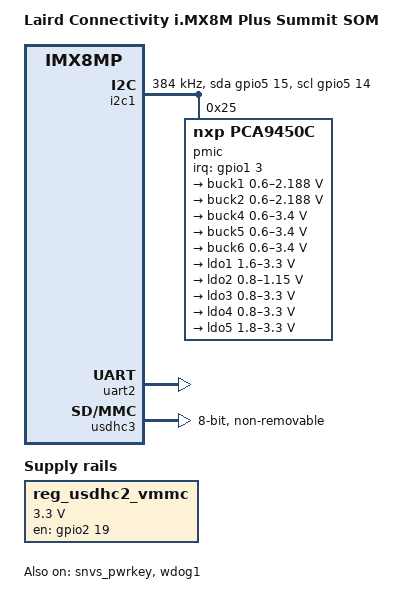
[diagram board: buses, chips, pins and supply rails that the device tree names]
// SPDX-License-Identifier: (GPL-2.0-or-later OR MIT)
/*
 * Copyright 2021 Laird Connectivity
 */

#include <dt-bindings/usb/pd.h>
#include "imx8mp.dtsi"

/ {
	model = "Laird Connectivity  i.MX8M Plus Summit SOM";
	compatible = "lrd,imx8mp-summitsom", "fsl,imx8mp";

	chosen {
		bootargs = "console=ttymxc1,115200";
		stdout-path = &uart2;
	};

	reg_usdhc2_vmmc: regulator-usdhc2 {
		compatible = "regulator-fixed";
		pinctrl-names = "default";
		pinctrl-0 = <&pinctrl_reg_usdhc2_vmmc>;
		regulator-name = "VSD_3V3";
		regulator-min-microvolt = <3300000>;
		regulator-max-microvolt = <3300000>;
		gpio = <&gpio2 19 GPIO_ACTIVE_HIGH>;
		enable-active-high;
		startup-delay-us = <100>;
		off-on-delay-us = <12000>;
	};
};

&i2c1 {
	clock-frequency = <384000>;
	pinctrl-names = "default", "gpio";
	pinctrl-0 = <&pinctrl_i2c1>;
	pinctrl-1 = <&pinctrl_i2c1_gpio>;
	scl-gpios = <&gpio5 14 GPIO_ACTIVE_HIGH>;
	sda-gpios = <&gpio5 15 GPIO_ACTIVE_HIGH>;
	status = "okay";

	pmic: pca9450@25 {
		compatible = "nxp,pca9450c";
		reg = <0x25>;
		pinctrl-names = "default";
		pinctrl-0 = <&pinctrl_pmic>;
		interrupt-parent = <&gpio1>;
		interrupts = <3 IRQ_TYPE_LEVEL_LOW>;

		pmic_reg: regulators {
			buck1: BUCK1 {
				regulator-name = "BUCK1";
				regulator-min-microvolt = <600000>;
				regulator-max-microvolt = <2187500>;
				regulator-boot-on;
				regulator-always-on;
				regulator-ramp-delay = <3125>;
			};

			buck2: BUCK2 {
				regulator-name = "BUCK2";
				regulator-min-microvolt = <600000>;
				regulator-max-microvolt = <2187500>;
				regulator-boot-on;
				regulator-always-on;
				regulator-ramp-delay = <3125>;
				nxp,dvs-run-voltage = <950000>;
				nxp,dvs-standby-voltage = <850000>;
			};

			buck4: BUCK4{
				regulator-name = "BUCK4";
				regulator-min-microvolt = <600000>;
				regulator-max-microvolt = <3400000>;
				regulator-boot-on;
				regulator-always-on;
			};

			buck5: BUCK5{
				regulator-name = "BUCK5";
				regulator-min-microvolt = <600000>;
				regulator-max-microvolt = <3400000>;
				regulator-boot-on;
				regulator-always-on;
			};

			buck6: BUCK6 {
				regulator-name = "BUCK6";
				regulator-min-microvolt = <600000>;
				regulator-max-microvolt = <3400000>;
				regulator-boot-on;
				regulator-always-on;
			};

			ldo1: LDO1 {
				regulator-name = "LDO1";
				regulator-min-microvolt = <1600000>;
				regulator-max-microvolt = <3300000>;
				regulator-boot-on;
				regulator-always-on;
			};

			ldo2: LDO2 {
				regulator-name = "LDO2";
				regulator-min-microvolt = <800000>;
				regulator-max-microvolt = <1150000>;
				regulator-boot-on;
				regulator-always-on;
			};

			ldo3: LDO3 {
				regulator-name = "LDO3";
				regulator-min-microvolt = <800000>;
				regulator-max-microvolt = <3300000>;
				regulator-boot-on;
				regulator-always-on;
			};

			ldo4: LDO4 {
				regulator-name = "LDO4";
				regulator-min-microvolt = <800000>;
				regulator-max-microvolt = <3300000>;
				regulator-boot-on;
				regulator-always-on;
			};

			ldo5: LDO5 {
				regulator-name = "LDO5";
				regulator-min-microvolt = <1800000>;
				regulator-max-microvolt = <3300000>;
				regulator-boot-on;
				regulator-always-on;
			};
		};
	};
};

&snvs_pwrkey {
	status = "okay";
};

&uart2 {
	/* console */
	pinctrl-names = "default";
	pinctrl-0 = <&pinctrl_uart2>;
	status = "okay";
};

&usdhc3 {
	pinctrl-names = "default", "state_100mhz", "state_200mhz";
	pinctrl-0 = <&pinctrl_usdhc3>;
	pinctrl-1 = <&pinctrl_usdhc3_100mhz>;
	pinctrl-2 = <&pinctrl_usdhc3_200mhz>;
	bus-width = <8>;
	non-removable;
	status = "okay";
};

&wdog1 {
	pinctrl-names = "default";
	pinctrl-0 = <&pinctrl_wdog>;
	fsl,ext-reset-output;
	status = "okay";
};

&iomuxc {
	pinctrl-names = "default";

	pinctrl_i2c1: i2c1grp {
		fsl,pins = <
			MX8MP_IOMUXC_I2C1_SCL__I2C1_SCL		0x400001c2
			MX8MP_IOMUXC_I2C1_SDA__I2C1_SDA		0x400001c2
		>;
	};

	pinctrl_i2c1_gpio: i2c1grp-gpio {
		fsl,pins = <
			MX8MP_IOMUXC_I2C1_SCL__GPIO5_IO14        	0x1c2
			MX8MP_IOMUXC_I2C1_SDA__GPIO5_IO15        	0x1c2
		>;
	};

	pinctrl_pmic: pmicirq {
		fsl,pins = <
			MX8MP_IOMUXC_GPIO1_IO03__GPIO1_IO03	0x40
		>;
	};

	pinctrl_reg_usdhc2_vmmc: regusdhc2vmmc {
		fsl,pins = <
			MX8MP_IOMUXC_SD2_RESET_B__GPIO2_IO19	0x40
		>;
	};

	pinctrl_uart2: uart2grp {
		fsl,pins = <
			MX8MP_IOMUXC_UART2_RXD__UART2_DCE_RX	0x1c0
			MX8MP_IOMUXC_UART2_TXD__UART2_DCE_TX	0x0c0
		>;
	};

	pinctrl_usdhc3: usdhc3grp {
		fsl,pins = <
			MX8MP_IOMUXC_NAND_WE_B__USDHC3_CLK	0x190
			MX8MP_IOMUXC_NAND_WP_B__USDHC3_CMD	0x1d0
			MX8MP_IOMUXC_NAND_DATA04__USDHC3_DATA0	0x1d0
			MX8MP_IOMUXC_NAND_DATA05__USDHC3_DATA1	0x1d0
			MX8MP_IOMUXC_NAND_DATA06__USDHC3_DATA2	0x1d0
			MX8MP_IOMUXC_NAND_DATA07__USDHC3_DATA3	0x1d0
			MX8MP_IOMUXC_NAND_RE_B__USDHC3_DATA4	0x1d0
			MX8MP_IOMUXC_NAND_CE2_B__USDHC3_DATA5	0x1d0
			MX8MP_IOMUXC_NAND_CE3_B__USDHC3_DATA6	0x1d0
			MX8MP_IOMUXC_NAND_CLE__USDHC3_DATA7	0x1d0
			MX8MP_IOMUXC_NAND_CE1_B__USDHC3_STROBE	0x190
		>;
	};

	pinctrl_usdhc3_100mhz: usdhc3-100mhzgrp {
		fsl,pins = <
			MX8MP_IOMUXC_NAND_WE_B__USDHC3_CLK	0x194
			MX8MP_IOMUXC_NAND_WP_B__USDHC3_CMD	0x1d4
			MX8MP_IOMUXC_NAND_DATA04__USDHC3_DATA0	0x1d4
			MX8MP_IOMUXC_NAND_DATA05__USDHC3_DATA1	0x1d4
			MX8MP_IOMUXC_NAND_DATA06__USDHC3_DATA2	0x1d4
			MX8MP_IOMUXC_NAND_DATA07__USDHC3_DATA3	0x1d4
			MX8MP_IOMUXC_NAND_RE_B__USDHC3_DATA4	0x1d4
			MX8MP_IOMUXC_NAND_CE2_B__USDHC3_DATA5	0x1d4
			MX8MP_IOMUXC_NAND_CE3_B__USDHC3_DATA6	0x1d4
			MX8MP_IOMUXC_NAND_CLE__USDHC3_DATA7	0x1d4
			MX8MP_IOMUXC_NAND_CE1_B__USDHC3_STROBE	0x194
		>;
	};

	pinctrl_usdhc3_200mhz: usdhc3-200mhzgrp {
		fsl,pins = <
			MX8MP_IOMUXC_NAND_WE_B__USDHC3_CLK	0x196
			MX8MP_IOMUXC_NAND_WP_B__USDHC3_CMD	0x1d6
			MX8MP_IOMUXC_NAND_DATA04__USDHC3_DATA0	0x1d6
			MX8MP_IOMUXC_NAND_DATA05__USDHC3_DATA1	0x1d6
			MX8MP_IOMUXC_NAND_DATA06__USDHC3_DATA2	0x1d6
			MX8MP_IOMUXC_NAND_DATA07__USDHC3_DATA3	0x1d6
			MX8MP_IOMUXC_NAND_RE_B__USDHC3_DATA4	0x1d6
			MX8MP_IOMUXC_NAND_CE2_B__USDHC3_DATA5	0x1d6
			MX8MP_IOMUXC_NAND_CE3_B__USDHC3_DATA6	0x1d6
			MX8MP_IOMUXC_NAND_CLE__USDHC3_DATA7	0x1d6
			MX8MP_IOMUXC_NAND_CE1_B__USDHC3_STROBE	0x196
		>;
	};

	pinctrl_wdog: wdoggrp {
		fsl,pins = <
			MX8MP_IOMUXC_GPIO1_IO02__WDOG1_WDOG_B	0xc6
		>;
	};
};
